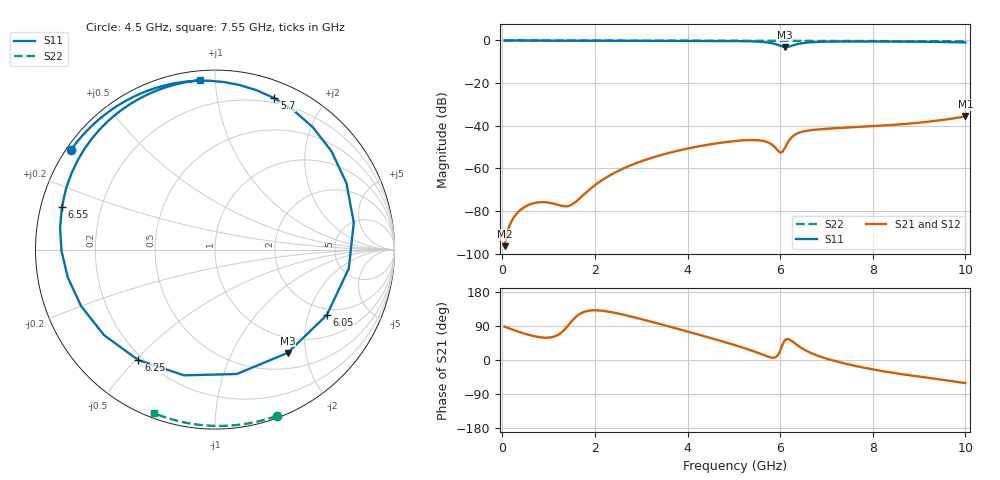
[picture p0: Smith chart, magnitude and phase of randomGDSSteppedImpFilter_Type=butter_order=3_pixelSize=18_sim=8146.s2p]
! freq	dB(S11)	phase(S11)	dB(S12)	phase(S12)
!  dB(S21)	phase(S21)	dB(S22)	phase(S22)
!S-par simulation data
#  GHz  S  DB  R 50
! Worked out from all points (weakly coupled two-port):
!   200 points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, 50 MHz to 10 GHz, reference 50 ohm
!   highest |S21| = -35.64 dB at 10 GHz (marker M1); lowest = -96.5 dB at 50 MHz (marker M2)
!   lowest |S11| = -3.1 dB at 6.1 GHz (marker M3), VSWR 5.75, Z = 36.8 - j83.9 ohm
!   |S11| at or under -10 dB: nowhere
!   |S22| runs from -0.5 to 0.0 dB; largest |S21 - S12| = 0
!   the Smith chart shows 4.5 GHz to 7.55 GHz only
!   S11 on the Smith chart (normalised r, x): 4.5 GHz: 0.01, +0.31; 5.7 GHz: 0.15, +1.45; 6.05 GHz: 1.74, -2.65; 6.25 GHz: 0.18, -0.51; 6.55 GHz: 0.06, +0.14; 7.55 GHz: 0.05, +0.91
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0.05  -0.00 -3.7  -96.48 88.0  -96.48 88.0  -0.00 -0.8
0.9  -0.08 -63.2  -75.84 59.0  -75.84 59.0  -0.02 -14.6
1.4  -0.10 -92.6  -77.74 87.9  -77.74 87.9  -0.03 -22.6
1.75  -0.11 -110.6  -72.48 126.2  -72.48 126.2  -0.04 -28.2
2.55  -0.13 -145.1  -60.70 121.4  -60.70 121.4  -0.05 -40.7
3.4  -0.15 -176.0  -53.91 95.1  -53.91 95.1  -0.07 -53.6
4.5  -0.21 145.3  -48.69 58.0  -48.69 58.0  -0.10 -69.6
5.05  -0.29 121.6  -47.11 38.2  -47.11 38.2  -0.12 -77.4
5.4  -0.44 100.1  -46.70 24.2  -46.70 24.2  -0.13 -82.2
5.7  -0.86 68.6  -47.52 10.6  -47.52 10.6  -0.14 -86.3
5.9  -1.72 26.9  -50.38 7.2  -50.38 7.2  -0.15 -89.0
6.05  -2.83 -30.3  -52.23 40.2  -52.23 40.2  -0.16 -91.1
6.1  -3.05 -54.9  -50.50 51.8  -50.50 51.8  -0.16 -91.7
6.25  -2.50 -124.7  -45.42 50.3  -45.42 50.3  -0.17 -93.7
6.4  -1.57 -169.3  -43.32 36.5  -43.32 36.5  -0.18 -95.7
6.55  -1.05 164.3  -42.45 25.3  -42.45 25.3  -0.18 -97.7
6.7  -0.79 146.8  -41.99 16.7  -41.99 16.7  -0.19 -99.6
7.05  -0.55 120.5  -41.36 1.9  -41.36 1.9  -0.21 -104.2
7.55  -0.47 95.0  -40.71 -13.7  -40.71 -13.7  -0.25 -110.6
8.35  -0.49 61.6  -39.72 -32.2  -39.72 -32.2  -0.31 -120.7
9.25  -0.65 24.9  -37.98 -47.9  -37.98 -47.9  -0.39 -131.9
10  -0.94 -7.6  -35.64 -61.0  -35.64 -61.0  -0.48 -141.4
